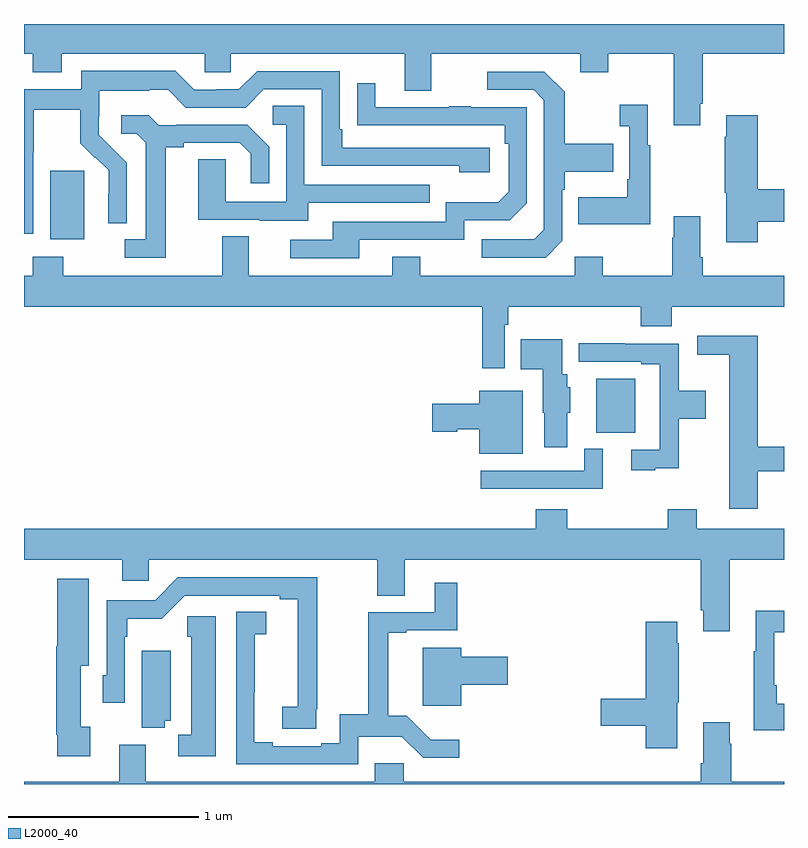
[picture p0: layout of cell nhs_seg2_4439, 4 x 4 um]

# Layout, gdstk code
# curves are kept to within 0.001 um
import gdstk
lib = gdstk.Library(unit=1e-6, precision=1e-09)
def R(c, l, rs):  # rectangles x0, y0, x1, y1
    for r in rs: c.add(gdstk.rectangle(r[:2], r[2:], *l))
def P(c, l, *ps):  # polygons
    for p in ps: c.add(gdstk.Polygon(p, *l))
L2000_40 = (2000, 40)

nhs_seg2_4439 = lib.new_cell('nhs_seg2_4439')
R(nhs_seg2_4439, L2000_40, [(354.011,637.649,354.217,637.933), (351.137,638.666,351.316,639.027)])
P(nhs_seg2_4439, L2000_40, [(354.559,639.379),(354.572,639.379),(354.572,639.644),(355,639.644),(355,639.8),(351,639.8),(351,639.644),(351.047,639.644),(351.047,639.545),(351.199,639.545),(351.199,639.644),(351.951,639.644),(351.951,639.546),(352.089,639.546),(352.089,639.644),(353.003,639.644),(353.003,639.45),(353.143,639.45),(353.143,639.644),(353.927,639.644),(353.927,639.545),(354.075,639.545),(354.075,639.644),(354.419,639.644),(354.419,639.267),(354.559,639.267)],
  [(351.048,639.124),(351.051,639.124),(351.051,639.348),(351.295,639.348),(351.295,639.173),(351.372,639.096),(351.375,639.099),(351.446,639.029),(351.446,638.906),(351.444,638.906),(351.444,638.752),(351.54,638.752),(351.54,639.07),(351.394,639.218),(351.394,639.315),(351.396,639.315),(351.396,639.449),(351.659,639.449),(351.659,639.453),(351.759,639.453),(351.852,639.36),(352.167,639.36),(352.263,639.456),(352.566,639.456),(352.566,639.054),(353.291,639.054),(353.291,639.02),(353.452,639.02),(353.452,639.15),(352.675,639.15),(352.675,639.247),(352.662,639.247),(352.662,639.552),(352.227,639.552),(352.131,639.456),(352.013,639.456),(352.013,639.453),(351.897,639.453),(351.797,639.553),(351.3,639.553),(351.3,639.456),(351,639.456),(351,638.695),(351.048,638.695)],
  [(353.832,638.658),(353.832,638.927),(353.845,638.927),(353.845,639.023),(354.101,639.023),(354.101,639.171),(353.845,639.171),(353.845,639.443),(353.739,639.549),(353.439,639.549),(353.439,639.453),(353.682,639.453),(353.736,639.399),(353.736,638.718),(353.685,638.667),(353.409,638.667),(353.409,638.571),(353.745,638.571)],
  [(352.765,638.664),(353.316,638.664),(353.316,638.766),(353.556,638.766),(353.646,638.856),(353.646,639.363),(353.351,639.363),(353.351,639.368),(353.239,639.368),(353.239,639.363),(352.849,639.363),(352.849,639.487),(352.753,639.487),(352.753,639.268),(353.53,639.267),(353.53,639.17),(353.55,639.17),(353.55,638.916),(353.497,638.863),(353.22,638.863),(353.22,638.76),(352.625,638.76),(352.625,638.664),(352.401,638.664),(352.401,638.568),(352.765,638.568)],
  [(354.295,639.163),(354.283,639.163),(354.283,639.376),(354.135,639.376),(354.135,639.263),(354.186,639.263),(354.186,638.983),(354.174,638.983),(354.174,638.887),(353.917,638.887),(353.917,638.747),(354.295,638.747)],
  [(352.495,638.859),(353.135,638.859),(353.135,638.955),(352.476,638.955),(352.476,639.371),(352.308,639.371),(352.308,639.27),(352.38,639.27),(352.38,638.865),(352.062,638.865),(352.062,639.089),(351.917,639.089),(351.917,638.769),(352.241,638.769),(352.241,638.765),(352.495,638.765)],
  [(354.863,638.759),(355,638.759),(355,638.93),(354.863,638.93),(354.863,639.319),(354.695,639.319),(354.695,639.206),(354.688,639.206),(354.688,638.913),(354.695,638.913),(354.695,638.652),(354.863,638.652)],
  [(351.745,639.152),(351.841,639.152),(351.841,639.174),(352.136,639.174),(352.193,639.117),(352.193,638.961),(352.29,638.961),(352.29,639.154),(352.174,639.27),(351.802,639.27),(351.802,639.267),(351.708,639.267),(351.656,639.319),(351.513,639.319),(351.513,639.222),(351.594,639.222),(351.641,639.175),(351.641,638.667),(351.531,638.667),(351.531,638.571),(351.745,638.571)],
  [(353.529,638.216),(353.549,638.216),(353.549,638.312),(354.245,638.312),(354.245,638.21),(354.41,638.21),(354.41,638.312),(355,638.312),(355,638.476),(354.572,638.476),(354.572,638.572),(354.559,638.572),(354.559,638.788),(354.419,638.788),(354.419,638.675),(354.412,638.675),(354.412,638.476),(354.045,638.476),(354.045,638.575),(353.898,638.575),(353.898,638.476),(353.085,638.476),(353.085,638.575),(352.937,638.575),(352.937,638.476),(352.183,638.476),(352.183,638.684),(352.043,638.684),(352.043,638.476),(351.207,638.476),(351.207,638.575),(351.047,638.575),(351.047,638.476),(351,638.476),(351,638.312),(353.413,638.312),(353.413,637.989),(353.529,637.989)],
  [(354.863,637.446),(355,637.446),(355,637.574),(354.863,637.574),(354.863,638.158),(354.543,638.158),(354.543,638.06),(354.713,638.06),(354.713,637.248),(354.863,637.248)],
  [(353.86,637.755),(353.875,637.755),(353.875,637.887),(353.86,637.887),(353.86,637.956),(353.833,637.956),(353.833,638.14),(353.614,638.14),(353.614,637.982),(353.729,637.982),(353.729,637.755),(353.738,637.755),(353.738,637.572),(353.86,637.572)],
  [(354.323,637.463),(354.446,637.463),(354.446,637.723),(354.589,637.723),(354.589,637.87),(354.446,637.87),(354.446,638.118),(354.161,638.118),(354.161,638.12),(353.919,638.12),(353.919,638.022),(354.248,638.022),(354.248,638.01),(354.345,638.01),(354.345,637.56),(354.195,637.56),(354.195,637.452),(354.323,637.452)],
  [(353.626,637.87),(353.396,637.87),(353.396,637.802),(353.148,637.802),(353.148,637.655),(353.28,637.655),(353.28,637.667),(353.396,637.667),(353.396,637.538),(353.626,637.538)],
  [(354.046,637.564),(353.949,637.564),(353.949,637.449),(353.403,637.449),(353.403,637.353),(354.046,637.353)],
  [(354.715,636.98),(355,636.98),(355,637.144),(354.541,637.144),(354.541,637.246),(354.389,637.246),(354.389,637.144),(353.858,637.144),(353.858,637.246),(353.693,637.246),(353.693,637.144),(351,637.144),(351,636.98),(351.518,636.98),(351.518,636.87),(351.657,636.87),(351.657,636.98),(352.858,636.98),(352.858,636.79),(353.005,636.79),(353.005,636.98),(354.563,636.98),(354.563,636.715),(354.575,636.715),(354.575,636.603),(354.715,636.603)],
  [(352.538,636.193),(352.544,636.193),(352.544,636.888),(351.81,636.888),(351.69,636.768),(351.435,636.768),(351.435,636.372),(351.414,636.372),(351.414,636.228),(351.531,636.228),(351.531,636.575),(351.544,636.575),(351.544,636.671),(351.725,636.671),(351.846,636.792),(352.346,636.792),(352.346,636.772),(352.442,636.772),(352.441,636.206),(352.359,636.206),(352.359,636.091),(352.538,636.091)],
  [(351.349,636.102),(351.298,636.102),(351.298,636.422),(351.34,636.422),(351.34,636.88),(351.176,636.88),(351.176,636.526),(351.169,636.526),(351.169,636.058),(351.176,636.058),(351.176,635.946),(351.349,635.946)],
  [(352.758,636.05),(352.987,636.05),(353.1,635.937),(353.29,635.937),(353.29,636.034),(353.141,636.034),(353.015,636.16),(352.916,636.16),(352.916,636.597),(353.011,636.597),(353.011,636.609),(353.279,636.609),(353.279,636.859),(353.162,636.859),(353.162,636.705),(352.813,636.705),(352.813,636.167),(352.662,636.167),(352.662,636.014),(352.565,636.014),(352.565,636),(352.309,636),(352.309,636.02),(352.213,636.02),(352.213,636.283),(352.215,636.283),(352.215,636.587),(352.276,636.587),(352.276,636.707),(352.116,636.707),(352.116,635.904),(352.758,635.904)],
  [(355,636.223),(354.961,636.223),(354.961,636.319),(354.948,636.319),(354.948,636.599),(355,636.599),(355,636.712),(354.851,636.712),(354.851,636.499),(354.84,636.499),(354.84,636.083),(355,636.083)],
  [(352.009,636.682),(351.859,636.682),(351.859,636.576),(351.881,636.576),(351.881,636.06),(351.813,636.06),(351.813,635.945),(352.009,635.945)],
  [(354.439,636.231),(354.447,636.231),(354.447,636.542),(354.439,636.542),(354.439,636.655),(354.272,636.655),(354.272,636.248),(354.036,636.248),(354.036,636.106),(354.272,636.106),(354.272,635.988),(354.439,635.988)],
  [(353.302,636.323),(353.545,636.323),(353.545,636.47),(353.302,636.47),(353.302,636.517),(353.099,636.517),(353.099,636.212),(353.302,636.212)],
  [(351.74,636.134),(351.772,636.134),(351.772,636.502),(351.62,636.502),(351.62,636.097),(351.74,636.097)],
  [(355,635.812),(354.723,635.812),(354.723,636.011),(354.715,636.011),(354.715,636.124),(354.575,636.124),(354.575,635.908),(354.563,635.908),(354.563,635.812),(352.999,635.812),(352.999,635.91),(352.847,635.91),(352.847,635.812),(351.64,635.812),(351.64,636.007),(351.5,636.007),(351.5,635.812),(351,635.812),(351,635.8),(355,635.8)])

lib.write_gds('nhs_seg2_4439.gds')
